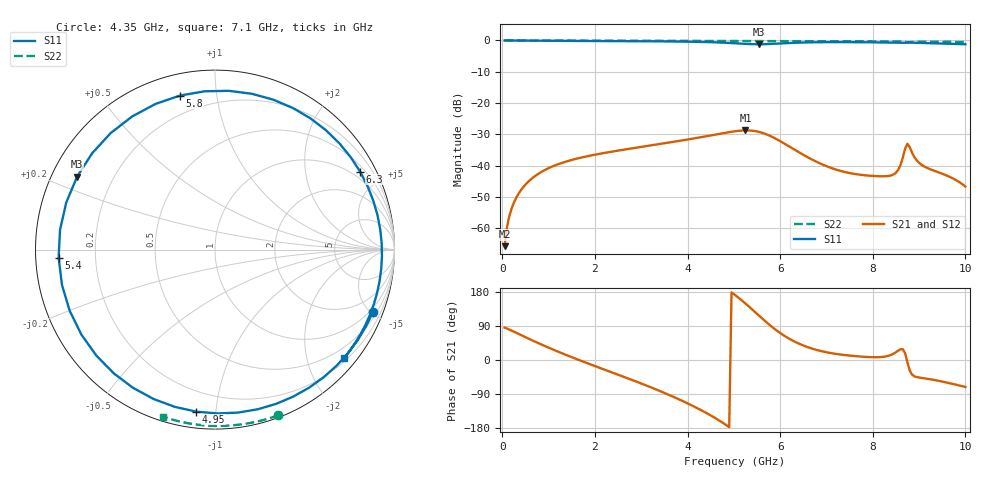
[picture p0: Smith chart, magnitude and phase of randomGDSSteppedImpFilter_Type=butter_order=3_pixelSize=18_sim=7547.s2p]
! freq	dB(S11)	phase(S11)	dB(S12)	phase(S12)
!  dB(S21)	phase(S21)	dB(S22)	phase(S22)
!S-par simulation data
#  GHz  S  DB  R 50
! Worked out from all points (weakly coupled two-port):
!   200 points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, 50 MHz to 10 GHz, reference 50 ohm
!   highest |S21| = -28.76 dB at 5.25 GHz (marker M1); lowest = -65.8 dB at 50 MHz (marker M2)
!   lowest |S11| = -1.2 dB at 5.55 GHz (marker M3), VSWR 14.28, Z = 3.71 + j12.3 ohm
!   |S11| at or under -10 dB: nowhere
!   |S22| runs from -0.6 to 0.0 dB; largest |S21 - S12| = 0
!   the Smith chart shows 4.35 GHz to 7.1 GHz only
!   S11 on the Smith chart (normalised r, x): 4.35 GHz: 0.77, -5.11; 4.95 GHz: 0.09, -0.89; 5.4 GHz: 0.07, -0.03; 5.8 GHz: 0.10, +0.79; 6.3 GHz: 0.70, +3.85; 7.1 GHz: 0.27, -2.72
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0.05  -0.00 -5.2  -65.77 85.5  -65.77 85.5  -0.00 -0.9
0.3  -0.04 -30.9  -50.32 71.8  -50.32 71.8  -0.01 -5.0
0.85  -0.10 -84.7  -41.98 40.6  -41.98 40.6  -0.02 -14.2
1.75  -0.17 -162.3  -37.28 -4.5  -37.28 -4.5  -0.04 -28.9
2.2  -0.19 162.0  -35.97 -25.1  -35.97 -25.1  -0.05 -36.1
2.7  -0.22 122.9  -34.73 -47.9  -34.73 -47.9  -0.06 -44.0
3.4  -0.29 66.1  -33.10 -81.7  -33.10 -81.7  -0.08 -54.9
3.9  -0.36 22.3  -31.92 -108.6  -31.92 -108.6  -0.09 -62.4
4.35  -0.48 -21.7  -30.77 -136.0  -30.77 -136.0  -0.10 -69.1
4.95  -0.83 -96.6  -29.19 178.4  -29.19 178.4  -0.12 -77.8
5.05  -0.92 -112.3  -28.98 169.3  -28.98 169.3  -0.13 -79.2
5.25  -1.09 -147.6  -28.76 149.3  -28.76 149.3  -0.14 -82.0
5.4  -1.19 -177.0  -28.85 133.0  -28.85 133.0  -0.14 -84.1
5.55  -1.22 152.2  -29.25 116.4  -29.25 116.4  -0.15 -86.2
5.8  -1.11 102.8  -30.62 89.7  -30.62 89.7  -0.16 -89.7
6.3  -0.75 28.3  -34.83 49.3  -34.83 49.3  -0.18 -96.5
6.7  -0.60 -10.9  -38.16 29.7  -38.16 29.7  -0.20 -101.9
7.1  -0.54 -40.0  -40.75 18.2  -40.75 18.2  -0.22 -107.2
8.35  -0.66 -104.3  -43.30 11.4  -43.30 11.4  -0.32 -123.6
8.75  -0.69 -121.1  -33.03 -7.1  -33.03 -7.1  -0.58 -128.6
9.05  -0.79 -134.5  -39.72 -47.3  -39.72 -47.3  -0.41 -131.9
10  -1.21 -179.5  -46.69 -71.1  -46.69 -71.1  -0.50 -144.2
